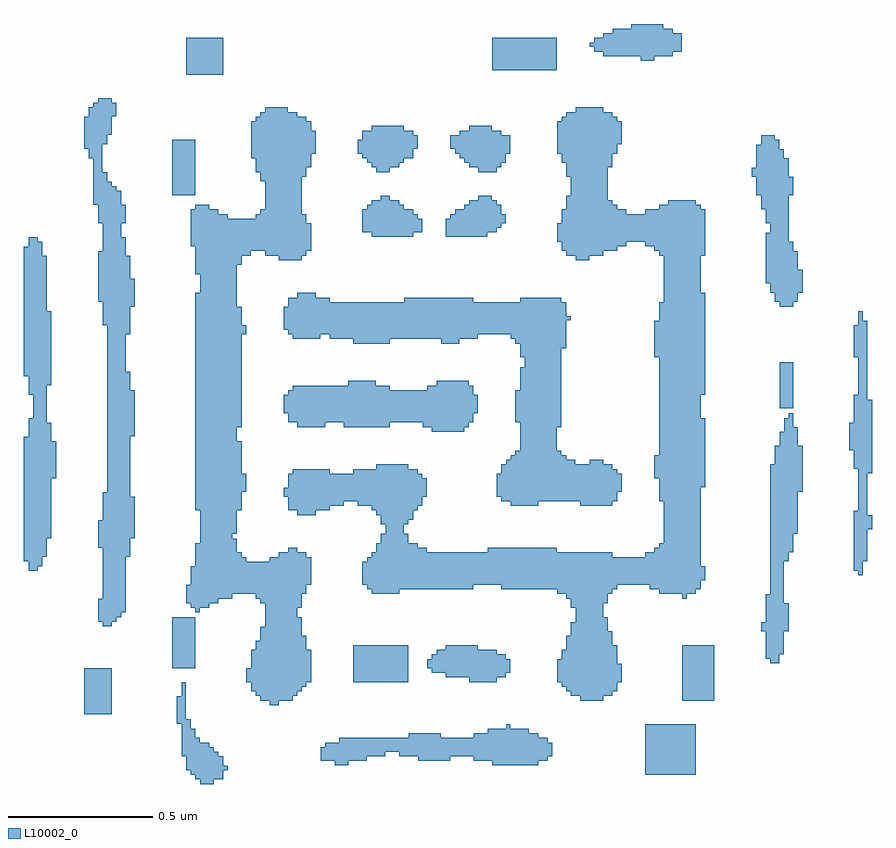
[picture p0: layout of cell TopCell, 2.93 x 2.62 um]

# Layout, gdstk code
import gdstk
lib = gdstk.Library(unit=1e-6, precision=1e-09)
def R(c, l, rs):  # rectangles x0, y0, x1, y1
    for r in rs: c.add(gdstk.rectangle(r[:2], r[2:], *l))
L10002_0 = (10002, 0)

topcell = lib.new_cell('TopCell')
R(topcell, L10002_0, [(1.104,0.752,1.135,0.895), (1.135,0.752,1.151,0.879), (1.088,0.768,1.103,0.911), (1.103,0.768,1.104,0.895), (1.151,0.768,1.167,0.863), (1.167,0.768,1.183,0.847), (1.072,0.784,1.087,0.943), (1.087,0.784,1.088,0.911), (2.64,0.784,2.815,0.959), (1.056,0.8,1.071,0.975), (1.071,0.8,1.072,0.943), (1.183,0.8,1.199,0.815), (1.568,0.816,1.615,0.895), (2.112,0.816,2.239,0.943), (2.239,0.816,2.271,0.927), (1.52,0.832,1.568,0.879), (1.615,0.832,1.679,0.911), (1.856,0.832,1.935,0.927), (1.935,0.832,1.967,0.911), (2.048,0.832,2.112,0.927), (2.271,0.832,2.303,0.911), (1.04,0.848,1.055,1.103), (1.055,0.848,1.056,0.975), (1.679,0.848,1.743,0.911), (1.792,0.848,1.856,0.911), (1.967,0.848,2.048,0.911), (2.303,0.848,2.319,0.895), (1.743,0.864,1.792,0.911), (1.536,0.879,1.568,0.895), (1.584,0.895,1.615,0.911), (1.824,0.911,1.856,0.927), (2.096,0.927,2.112,0.943), (2.16,0.943,2.175,0.959), (1.024,0.96,1.04,1.055), (0.704,0.992,0.799,1.151), (1.344,1.024,1.375,1.535), (1.312,1.04,1.344,1.295), (1.375,1.04,1.423,1.535), (2.416,1.04,2.495,1.551), (2.768,1.04,2.879,1.231), (1.296,1.056,1.312,1.247), (1.423,1.056,1.439,1.567), (2.384,1.056,2.416,1.311), (2.495,1.056,2.511,1.327), (2.511,1.056,2.527,1.279), (1.28,1.072,1.296,1.215), (1.439,1.072,1.455,1.327), (2.368,1.072,2.384,1.263), (2.527,1.072,2.543,1.231), (1.455,1.088,1.471,1.263), (2.352,1.088,2.368,1.215), (1.264,1.104,1.28,1.151), (1.471,1.104,1.487,1.215), (1.632,1.104,1.823,1.231), (2.032,1.104,2.063,1.231), (2.063,1.104,2.127,1.215), (2.336,1.104,2.352,1.183), (2.543,1.104,2.559,1.167), (1.952,1.12,2.032,1.231), (2.127,1.12,2.159,1.199), (1.904,1.136,1.952,1.199), (2.159,1.136,2.175,1.183), (1.008,1.152,1.087,1.327), (1.888,1.152,1.904,1.183), (3.072,1.168,3.103,1.855), (3.056,1.184,3.072,1.407), (1.92,1.199,1.952,1.215), (3.103,1.2,3.119,1.919), (3.04,1.28,3.056,1.311), (3.119,1.28,3.135,1.375), (1.328,1.295,1.344,1.519), (0.768,1.296,0.799,1.759), (2.4,1.311,2.416,1.551), (0.752,1.312,0.768,1.391), (0.799,1.312,0.815,2.815), (0.815,1.328,0.831,2.799), (0.831,1.344,0.847,2.639), (1.088,1.344,1.103,1.583), (1.072,1.36,1.088,1.503), (1.103,1.36,1.135,1.583), (1.439,1.36,1.455,1.551), (2.384,1.36,2.4,1.551), (1.056,1.376,1.072,1.439), (1.135,1.376,1.167,2.735), (1.312,1.376,1.328,1.519), (2.495,1.376,2.511,1.551), (1.167,1.392,1.199,2.719), (1.199,1.392,1.215,2.703), (1.296,1.392,1.312,1.519), (2.368,1.392,2.384,1.551), (2.768,1.392,2.783,2.767), (1.215,1.408,1.231,1.599), (1.231,1.408,1.247,1.551), (1.247,1.408,1.263,1.535), (1.263,1.408,1.296,1.519), (1.455,1.408,1.471,1.551), (1.696,1.408,1.791,1.551), (2.336,1.408,2.368,1.551), (2.511,1.408,2.527,1.551), (2.688,1.408,2.768,1.583), (2.783,1.408,2.815,2.767), (1.68,1.424,1.696,1.535), (1.791,1.424,1.807,1.855), (1.807,1.424,1.823,1.615), (1.823,1.424,1.855,1.583), (1.855,1.424,1.887,1.567), (1.887,1.424,2.047,1.551), (2.144,1.424,2.335,1.567), (2.335,1.424,2.336,1.551), (2.527,1.424,2.543,1.535), (2.656,1.424,2.688,1.551), (2.815,1.424,2.831,2.751), (1.471,1.44,1.487,1.535), (1.664,1.44,1.68,1.519), (2.047,1.44,2.144,1.551), (2.543,1.44,2.656,1.535), (2.831,1.456,2.847,1.503), (3.376,1.472,3.391,2.383), (0.512,1.488,0.543,2.015), (3.36,1.488,3.376,1.695), (0.543,1.504,0.559,2.623), (0.496,1.52,0.512,1.951), (3.119,1.52,3.135,1.967), (3.391,1.52,3.407,2.351), (1.376,1.535,1.423,1.551), (2.64,1.535,2.656,1.551), (0.559,1.536,0.575,2.575), (0.847,1.536,0.863,2.175), (1.408,1.551,1.423,1.567), (1.712,1.551,1.791,1.583), (2.096,1.551,2.144,1.567), (2.672,1.551,2.688,1.567), (3.135,1.552,3.151,2.015), (0.752,1.568,0.768,1.663), (1.104,1.583,1.135,2.751), (1.728,1.583,1.791,1.615), (2.704,1.583,2.768,2.751), (0.575,1.6,0.591,1.999), (0.863,1.6,0.879,1.743), (1.744,1.615,1.791,1.855), (1.215,1.616,1.231,2.703), (3.151,1.616,3.167,1.983), (3.407,1.632,3.423,1.679), (1.728,1.648,1.744,1.855), (1.807,1.648,1.823,1.855), (1.823,1.664,1.839,1.839), (1.44,1.68,1.503,1.839), (1.712,1.68,1.728,1.855), (1.088,1.696,1.104,2.447), (1.231,1.696,1.247,1.935), (1.408,1.696,1.44,1.823), (1.503,1.696,1.551,1.839), (1.696,1.696,1.712,1.839), (1.839,1.696,1.855,1.839), (1.551,1.712,1.599,1.823), (1.648,1.712,1.696,1.839), (1.855,1.712,1.871,1.823), (2.176,1.712,2.271,1.887), (2.416,1.712,2.527,1.855), (1.599,1.728,1.648,1.823), (2.144,1.728,2.176,1.855), (2.271,1.728,2.335,2.431), (2.335,1.728,2.351,1.903), (2.351,1.728,2.367,1.887), (2.367,1.728,2.399,1.871), (2.399,1.728,2.416,1.855), (2.527,1.728,2.543,1.839), (2.688,1.728,2.704,2.415), (1.392,1.744,1.408,1.775), (1.871,1.744,1.887,1.807), (2.128,1.744,2.144,1.823), (0.784,1.759,0.799,2.831), (1.247,1.76,1.263,1.823), (2.543,1.76,2.559,1.823), (3.167,1.76,3.183,1.919), (2.831,1.776,2.847,2.015), (0.591,1.808,0.607,1.935), (2.672,1.808,2.688,1.887), (1.424,1.823,1.44,1.839), (1.632,1.823,1.648,1.839), (3.407,1.824,3.423,2.079), (3.36,1.84,3.376,2.095), (2.16,1.855,2.176,1.871), (2.448,1.855,2.495,1.871), (3.088,1.855,3.103,1.919), (2.192,1.887,2.271,1.903), (2.208,1.903,2.271,2.191), (3.344,1.904,3.36,1.999), (3.104,1.919,3.119,1.967), (0.863,1.952,0.879,2.111), (3.12,1.967,3.135,2.015), (1.904,1.968,2.015,2.127), (1.231,1.984,1.247,2.399), (1.44,1.984,1.535,2.127), (1.6,1.984,1.759,2.127), (1.872,1.984,1.904,2.111), (2.015,1.984,2.031,2.143), (2.335,1.984,2.351,2.431), (1.408,2,1.44,2.111), (1.535,2,1.6,2.127), (1.759,2,1.872,2.111), (2.031,2,2.047,2.127), (2.192,2,2.208,2.111), (0.528,2.015,0.543,2.639), (3.136,2.015,3.151,2.031), (1.392,2.032,1.408,2.095), (2.047,2.032,2.063,2.095), (3.104,2.048,3.151,2.207), (0.512,2.096,0.528,2.639), (2.831,2.096,2.847,2.447), (1.424,2.111,1.44,2.127), (1.888,2.111,1.904,2.127), (1.616,2.127,1.711,2.143), (1.92,2.127,2.015,2.143), (0.575,2.128,0.591,2.383), (0.496,2.16,0.512,2.607), (2.224,2.191,2.271,2.431), (2.208,2.224,2.224,2.431), (2.672,2.224,2.688,2.351), (3.36,2.224,3.376,2.335), (2.351,2.256,2.367,2.415), (1.632,2.272,1.759,2.415), (1.936,2.272,1.999,2.431), (2.192,2.272,2.208,2.415), (1.424,2.288,1.519,2.431), (1.552,2.288,1.632,2.415), (1.759,2.288,1.936,2.415), (1.999,2.288,2.047,2.431), (2.047,2.288,2.063,2.415), (2.176,2.288,2.192,2.415), (0.847,2.304,0.863,2.575), (1.247,2.304,1.263,2.335), (1.408,2.304,1.424,2.431), (1.519,2.304,1.551,2.431), (1.551,2.304,1.552,2.415), (2.063,2.304,2.176,2.415), (1.392,2.32,1.408,2.399), (0.768,2.336,0.783,2.863), (0.783,2.336,0.784,2.831), (2.367,2.352,2.383,2.367), (0.863,2.4,0.879,2.495), (3.104,2.4,3.119,2.943), (3.119,2.4,3.135,2.911), (3.135,2.4,3.151,2.623), (1.808,2.415,1.936,2.431), (0.752,2.416,0.768,2.591), (3.088,2.416,3.103,2.975), (3.103,2.416,3.104,2.943), (3.151,2.416,3.167,2.591), (1.44,2.431,1.503,2.447), (3.072,2.448,3.087,2.991), (3.087,2.448,3.088,2.975), (3.167,2.448,3.183,2.527), (3.056,2.48,3.072,2.655), (1.088,2.512,1.104,2.751), (1.231,2.544,1.247,2.703), (1.376,2.56,1.407,3.087), (1.407,2.56,1.439,3.071), (1.439,2.56,1.455,3.055), (2.4,2.56,2.447,3.087), (1.247,2.576,1.279,2.703), (1.328,2.576,1.376,3.087), (1.455,2.576,1.471,2.719), (2.368,2.576,2.4,2.783), (2.447,2.576,2.495,3.087), (2.688,2.576,2.704,2.751), (2.831,2.576,2.847,2.735), (1.279,2.592,1.328,2.703), (1.471,2.592,1.487,2.687), (2.352,2.592,2.368,2.735), (2.495,2.592,2.511,3.071), (2.511,2.592,2.527,2.767), (2.527,2.592,2.543,2.751), (2.672,2.592,2.688,2.735), (1.072,2.608,1.088,2.735), (2.543,2.608,2.575,2.735), (2.64,2.608,2.672,2.735), (2.336,2.624,2.352,2.687), (2.575,2.624,2.64,2.719), (1.696,2.64,1.791,2.767), (1.791,2.64,1.807,2.751), (1.807,2.64,1.839,2.735), (1.952,2.64,2.095,2.703), (1.664,2.656,1.696,2.735), (1.839,2.656,1.855,2.719), (1.855,2.656,1.871,2.703), (2.095,2.656,2.111,2.783), (2.111,2.656,2.127,2.767), (2.127,2.672,2.143,2.751), (0.752,2.688,0.767,3.119), (0.767,2.688,0.768,2.863), (0.831,2.688,0.847,2.751), (2.143,2.688,2.159,2.719), (3.056,2.688,3.072,2.991), (1.296,2.703,1.328,2.719), (1.968,2.703,2.095,2.719), (1.312,2.719,1.328,2.735), (1.984,2.719,2.095,2.735), (1.68,2.735,1.696,2.751), (2.016,2.735,2.095,2.751), (3.04,2.736,3.056,2.991), (2.032,2.751,2.095,2.767), (2.72,2.751,2.768,2.767), (0.736,2.752,0.752,3.103), (1.728,2.767,1.759,2.783), (2.064,2.767,2.095,2.783), (2.384,2.783,2.4,3.071), (1.008,2.784,1.087,2.975), (3.024,2.784,3.04,2.959), (3.135,2.784,3.151,2.847), (1.312,2.832,1.328,3.071), (1.455,2.848,1.471,3.055), (2.368,2.848,2.384,3.071), (3.008,2.848,3.024,2.879), (1.296,2.864,1.312,3.055), (1.712,2.864,1.759,3.023), (2.064,2.864,2.111,3.023), (2.111,2.864,2.127,3.007), (1.471,2.88,1.487,3.039), (1.696,2.88,1.712,3.023), (1.759,2.88,1.791,3.023), (2.032,2.88,2.064,3.023), (2.127,2.88,2.143,3.007), (2.511,2.88,2.527,3.071), (1.68,2.896,1.696,3.007), (1.791,2.896,1.807,3.023), (2.016,2.896,2.032,3.007), (2.143,2.896,2.159,2.991), (2.352,2.896,2.368,3.055), (0.72,2.912,0.736,3.087), (1.28,2.912,1.296,3.039), (1.664,2.912,1.68,3.007), (1.807,2.912,1.839,3.007), (2,2.912,2.016,3.007), (1.487,2.928,1.503,3.007), (1.648,2.928,1.664,2.975), (1.984,2.928,2,2.991), (2.159,2.928,2.175,2.991), (2.336,2.928,2.352,3.039), (2.527,2.928,2.543,3.055), (0.704,2.944,0.72,3.055), (1.839,2.944,1.855,2.991), (1.968,2.944,1.984,2.991), (0.767,2.96,0.783,3.119), (2.543,2.96,2.559,3.039), (0.783,2.992,0.799,3.119), (0.799,3.056,0.815,3.103), (1.056,3.2,1.183,3.327), (2.112,3.216,2.335,3.327), (2.624,3.248,2.671,3.375), (2.496,3.264,2.624,3.343), (2.671,3.264,2.703,3.375), (2.703,3.264,2.735,3.359), (2.464,3.28,2.496,3.327), (2.735,3.28,2.767,3.343), (2.448,3.296,2.464,3.311), (2.528,3.343,2.624,3.359), (2.592,3.359,2.624,3.375)])

lib.write_gds('TopCell.gds')
